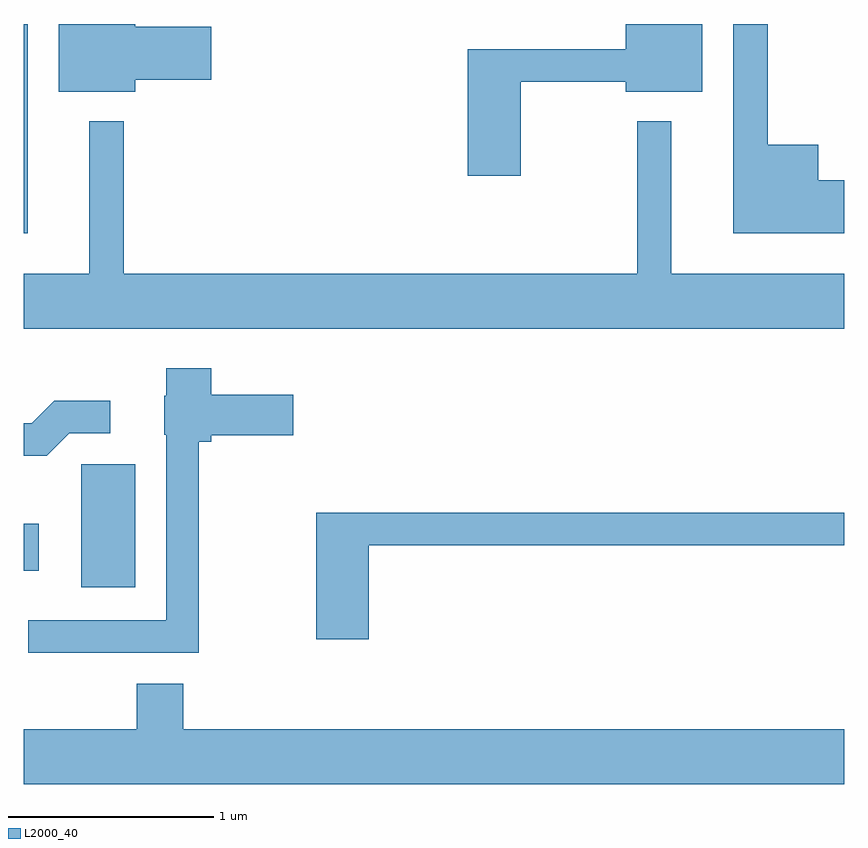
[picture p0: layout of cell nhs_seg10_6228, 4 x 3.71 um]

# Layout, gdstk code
import gdstk
lib = gdstk.Library(unit=1e-6, precision=1e-09)
def R(c, l, rs):  # rectangles x0, y0, x1, y1
    for r in rs: c.add(gdstk.rectangle(r[:2], r[2:], *l))
def P(c, l, *ps):  # polygons
    for p in ps: c.add(gdstk.Polygon(p, *l))
L2000_40 = (2000, 40)

nhs_seg10_6228 = lib.new_cell('nhs_seg10_6228')
R(nhs_seg10_6228, L2000_40, [(369.891,2103.776,370.154,2104.374), (369.611,2103.856,369.684,2104.084), (369.611,2105.501,369.629,2106.522)])
P(nhs_seg10_6228, L2000_40, [(373.611,2105.759),(373.484,2105.759),(373.484,2105.934),(373.239,2105.934),(373.239,2106.522),(373.071,2106.522),(373.071,2105.501),(373.611,2105.501)],
  [(372.034,2106.241),(372.546,2106.241),(372.546,2106.191),(372.919,2106.191),(372.919,2106.522),(372.546,2106.522),(372.546,2106.399),(371.776,2106.399),(371.776,2105.781),(372.034,2105.781)],
  [(370.154,2106.251),(370.524,2106.251),(370.524,2106.509),(370.154,2106.509),(370.154,2106.522),(369.781,2106.522),(369.781,2106.191),(370.154,2106.191)],
  [(373.611,2105.304),(372.769,2105.304),(372.769,2106.048),(372.601,2106.048),(372.601,2105.304),(370.099,2105.304),(370.099,2106.048),(369.931,2106.048),(369.931,2105.304),(369.611,2105.304),(369.611,2105.036),(373.611,2105.036)],
  [(370.464,2104.486),(370.524,2104.486),(370.524,2104.516),(370.924,2104.516),(370.924,2104.714),(370.524,2104.714),(370.524,2104.844),(370.306,2104.844),(370.306,2104.71),(370.296,2104.71),(370.296,2104.52),(370.306,2104.52),(370.306,2103.614),(369.633,2103.614),(369.633,2103.456),(370.464,2103.456)],
  [(369.832,2104.526),(370.033,2104.526),(370.033,2104.684),(369.759,2104.684),(369.649,2104.574),(369.611,2104.574),(369.611,2104.416),(369.722,2104.416)],
  [(371.294,2103.981),(373.611,2103.981),(373.611,2104.139),(371.036,2104.139),(371.036,2103.521),(371.294,2103.521)],
  [(373.611,2103.084),(370.389,2103.084),(370.389,2103.304),(370.161,2103.304),(370.161,2103.084),(369.611,2103.084),(369.611,2102.816),(373.611,2102.816)])

lib.write_gds('nhs_seg10_6228.gds')
